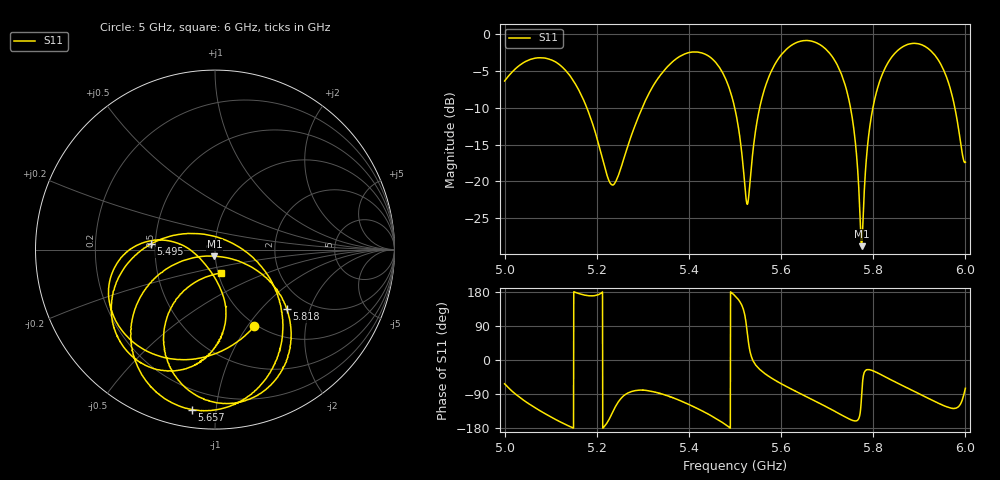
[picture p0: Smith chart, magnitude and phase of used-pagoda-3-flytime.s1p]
# HZ S RI R 50
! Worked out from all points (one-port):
!   2020 points, 5 GHz to 6 GHz, reference 50 ohm
!   lowest |S11| = -28.8 dB at 5.775 GHz (marker M1), VSWR 1.08, Z = 49.5 - j3.6 ohm
!   |S11| at or under -10 dB: 5.178 GHz to 5.299 GHz (120.4 MHz wide, 2.3 % of centre); 5.499 GHz to 5.554 GHz (54.37 MHz wide, 0.984 % of centre); 5.751 GHz to 5.799 GHz (48.71 MHz wide, 0.843 % of centre)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
!   S11 on the Smith chart (normalised r, x): 5 GHz: 0.97, -1.08; 5.495 GHz: 0.47, +0.03; 5.657 GHz: 0.09, -0.86; 5.818 GHz: 1.56, -1.41; 6 GHz: 1.04, -0.28
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5e9  0.219 -0.426
5.052997e9  -0.291 -0.5986
5.090639e9  -0.5489 -0.404
5.12531e9  -0.5776 -0.142
5.171372e9  -0.3526 0.0499
5.228331e9  -0.0877 -0.0449
5.250124e9  -0.031 -0.1133
5.317979e9  0.0558 -0.4167
5.375434e9  -0.1715 -0.6665
5.408618e9  -0.4027 -0.6364
5.445766e9  -0.5723 -0.3959
5.4948e9  -0.3589 0.0295
5.500248e9  -0.3003 0.0585
5.526994e9  0.0259 0.065
5.562655e9  0.3383 -0.2293
5.592373e9  0.3589 -0.5611
5.625062e9  0.1709 -0.828
5.657256e9  -0.1288 -0.8909
5.708767e9  -0.464 -0.5458
5.750372e9  -0.2932 -0.1266
5.761764e9  -0.1671 -0.0582
5.774641e9  -0.00347 -0.0363
5.792472e9  0.2113 -0.1019
5.818227e9  0.3997 -0.3298
5.875186e9  0.2245 -0.8175
5.909362e9  -0.0747 -0.8275
5.947004e9  -0.2806 -0.5514
6.000001e9  0.0358 -0.1303
